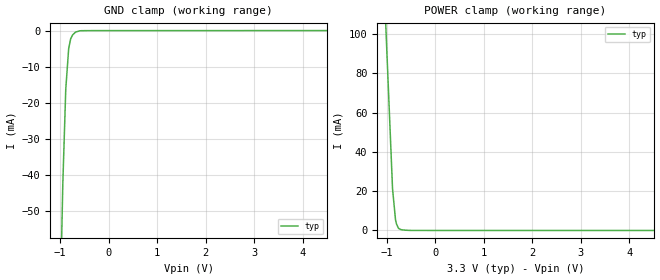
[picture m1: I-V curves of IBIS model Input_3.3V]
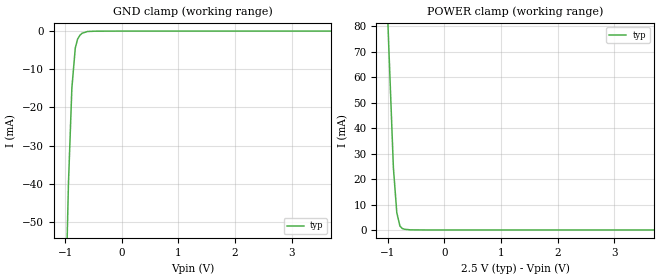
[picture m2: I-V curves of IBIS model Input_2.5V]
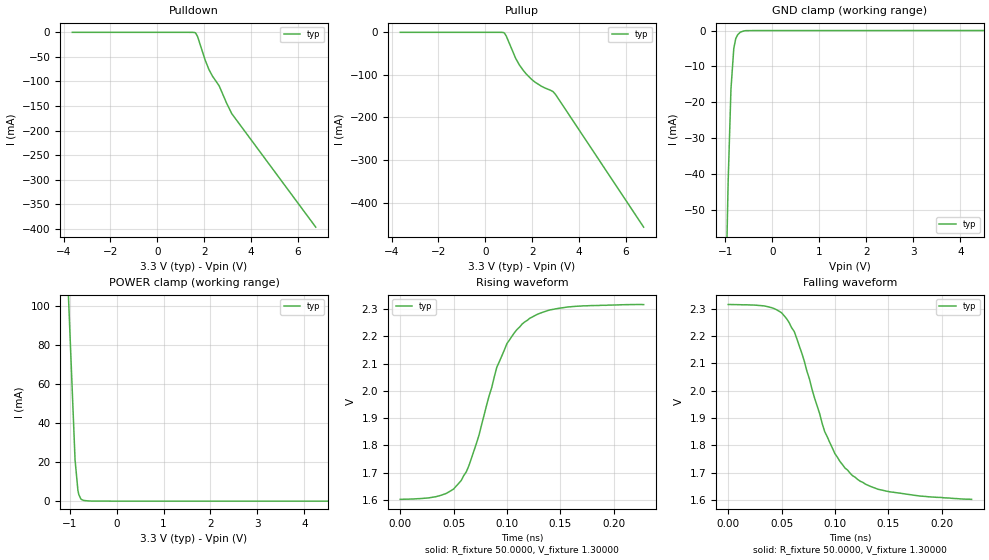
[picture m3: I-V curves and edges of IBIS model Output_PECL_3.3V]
| Teraspeed Modeling Services.
| http://www.teraspeed.com
[IBIS Ver]   3.2
[Comment Char] |_char
[File Name]   nb6l11d.ibs
[File Rev]   3.0
[Source]  Teraspeed Consulting Group LLC.
   Measured and Created by Dekker Graden
[Date]   05-10-2004
[Notes]   Quality Check of this IBIS model: Model Passes IBIS Check
   Model parses into ICX IS. Simulation done with Hyperlynx.
[Disclaimer]
| Use: Teraspeed Consulting Group LLC ("Teraspeed") has
| licensed IBIS models to specific integrated circuit
| suppliers ("IC Vendors") for use and distribustion as
| follows: Each IC Vendor may use IBIS Models, and distribute
| them to IC Vendor's custumers to use solely for developing
| printed circute board designs. Users of this model may
| modify the IBIS model to suit its specific applications but
| rights to derivative works and such modifications shell belong
| to Teraspeed. No other distribusion of these materials is
| permitted.
| DISCLAIMER OF WARRANTY: UNLESS OTHERWISE AGREED TO IN WRITING
| TERASPEED DISCLAIMS AND USER WAIVES ALL WARRANTIES, EXPRESS
| OR IMPLIED, INCLUDING WARRANTIES OF MERCHANTABILITY AND
| FITNESS FOR A PARTICULAR PURPOSE. IN NO EVENT SHALL
| TERASPEED BE LIABLE FOR ANY DIRECT OR INDIRECT DAMAGES,
| WHETHER IN CONTRACT OR TORT, INCLUDING, WITHOUT LIMITATION,
| LOST PROFITS, BUSINESS INTERRUPTION, OR LOST INFORMATION
| ARISING OUT OF THE USE OF OR THE INABILITY TO USE THE MODEL,
| EVEN IF TERASPEED HAS BEEN ADVISED OF THE POSSIBILITY OF SUCH
| DAMAGES.
[Copyright]
| This file is the legal property of Teraspeed Copyright(c) 2004.
| All other rights are reserved.
[Component] NB6L11D
[Manufacturer] ON
[Package]
| variable   typ   min   max
R_pkg  1.5243E-02  1.4866E-02  1.5620E-02
L_pkg  9.9081E-10  9.6629E-10  1.0153E-09
C_pkg  2.3451E-13  2.2871E-13  2.4032E-13
[Pin] signal_name  model_name  R_pin  L_pin C_pin
1  Q0   ECL_Output  1.5620E-02  1.0153E-09  2.4032E-13
2  _Q0  ECL_Output  1.4866E-02  9.6629E-10  2.2871E-13
3  Q1   ECL_Output  1.4866E-02  9.6629E-10  2.2871E-13
4  _Q1  ECL_Output  1.5620E-02  1.0153E-09  2.4032E-13
5  VEE  POWER   1.5620E-02  1.0153E-09  2.4032E-13
6  _D   Input   1.4866E-02  9.6629E-10  2.2871E-13
7  D   Input   1.4866E-02  9.6629E-10  2.2871E-13
8  VCC  POWER   1.5620E-02  1.0153E-09  2.4032E-13
[Diff Pin] inv_pin vdiff tdelay_typ tdelay_min tdelay_max
1  2   NA   NA  NA  NA
3  4   NA   NA  NA  NA
7  6   150mV  NA  NA  NA
[Model Selector] ECL_Output
Output_PECL_3.3V   PECL Output at 3.3V
Output_PECL_2.5V   PECL Output at 2.5V
[Model Selector] Input
Input_3.3V   Input at 3.3V Power
Input_2.5V   Input at 3.5V Power
| Models and submodels in the file (4): Input_3.3V (Input_ECL), Input_2.5V (Input_ECL), Output_PECL_3.3V (Output_ECL), Output_PECL_2.5V (Output_ECL)
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[Model] Input_3.3V
Model_type Input_ECL
Vinl  = 1.225V
Vinh  = 1.375V
C_comp  1.13000pF  NA  NA
| variable   typ   NA  NA
[Voltage Range]   3.30000V  NA  NA
[POWER Clamp Reference]  3.30000V  NA  NA
[GND Clamp Reference]   0.00000V  NA  NA
[Temperature Range]   25   NA  NA
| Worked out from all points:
|   GND clamp passes 1 mA (typ) near -0.72 V on its own axis
|   POWER clamp passes 1 mA (typ) near -0.75 V on its own axis
[GND Clamp]
-3.3V     -1.549A    NA         NA
-941.9mV  -42.52mA   NA         NA
-881mV    -16.25mA   NA         NA
-820.8mV  -4.958mA   NA         NA
-780.3mV  -2.278mA   NA         NA
-739.8mV  -1.189mA   NA         NA
-679.1mV  -415.4uA   NA         NA
-562.1mV  -16uA      NA         NA
-281.1mV  9.116uA    NA         NA
6.6V      16.69uA    NA         NA
[POWER Clamp]
-3.3V     1.464A     NA         NA
-1.039V   114.6mA    NA         NA
-978.5mV  78.31mA    NA         NA
-882.9mV  21.24mA    NA         NA
-821.8mV  5.484mA    NA         NA
-801.9mV  3.313mA    NA         NA
-761.5mV  1.193mA    NA         NA
-741.2mV  779.6uA    NA         NA
-520.9mV  27.07uA    NA         NA
6.6V      0A         NA         NA
[Model] Input_2.5V
Model_type Input_ECL
Vinl  = 0.425V
Vinh  = 0.575V
C_comp  1.13000pF  NA  NA
| variable   typ   NA  NA
[Voltage Range]   2.50000V  NA  NA
[POWER Clamp Reference]  2.50000V  NA  NA
[GND Clamp Reference]   0.00000V  NA  NA
[Temperature Range]   25   NA  NA
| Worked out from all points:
|   GND clamp passes 1 mA (typ) near -0.74 V on its own axis
|   POWER clamp passes 1 mA (typ) near -0.76 V on its own axis
[GND Clamp]
-2.5V     -1.026A    NA         NA
-941.9mV  -40.14mA   NA         NA
-881.1mV  -14.86mA   NA         NA
-820.8mV  -4.383mA   NA         NA
-780.3mV  -2.054mA   NA         NA
-739.8mV  -1.055mA   NA         NA
-699.4mV  -503.7uA   NA         NA
-603.1mV  -51.72uA   NA         NA
-462.7mV  30.99uA    NA         NA
5V        54.28uA    NA         NA
[POWER Clamp]
-2.5V     961.5mA    NA         NA
-1.02V    95.53mA    NA         NA
-959.5mV  60.07mA    NA         NA
-898.7mV  24.5mA     NA         NA
-838.3mV  6.76mA     NA         NA
-783.1mV  1.554mA    NA         NA
-742.6mV  582.1uA    NA         NA
-600.9mV  44.55uA    NA         NA
-300.4mV  0A         NA         NA
5V        0A         NA         NA
[Model] Output_PECL_3.3V
Model_type Output_ECL
Vref  = 1.30000V
Rref  = 50.0000ohms
Cref  = 0.00000pF
Vmeas = 1.9592V
C_comp  1.13000pF  NA  NA
| variable   typ   NA  NA
[Voltage Range]   3.30000V  NA  NA
[POWER Clamp Reference]  3.30000V  NA  NA
[Pullup Reference]   3.30000V  NA  NA
[Pulldown Reference]   3.30000V  NA  NA
[GND Clamp Reference]   0.00000V  NA  NA
[Temperature Range]   25   NA  NA
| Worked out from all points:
|   GND clamp passes 1 mA (typ) near -0.72 V on its own axis
|   POWER clamp passes 1 mA (typ) near -0.75 V on its own axis
|   falling waveform, R_fixture 50.0000, V_fixture 1.30000: 20-80 % time 38.3ps typ, NA min, NA max; typ from 2.32 V to 1.6 V
|   rising waveform, R_fixture 50.0000, V_fixture 1.30000: 20-80 % time 34ps typ, NA min, NA max; typ from 1.6 V to 2.32 V
[GND Clamp]
-3.3V     -1.549A    NA         NA
-941.9mV  -42.52mA   NA         NA
-881mV    -16.25mA   NA         NA
-820.8mV  -4.958mA   NA         NA
-780.3mV  -2.278mA   NA         NA
-739.8mV  -1.189mA   NA         NA
-679.1mV  -415.4uA   NA         NA
-562.1mV  -16uA      NA         NA
-281.1mV  9.116uA    NA         NA
6.6V      16.69uA    NA         NA
[Pulldown]
-3.63V    -1.126uA   NA         NA
1.499V    -56.69uA   NA         NA
1.641V    -1.654mA   NA         NA
1.722V    -8.984mA   NA         NA
2.04V     -56.14mA   NA         NA
2.201V    -75.56mA   NA         NA
2.358V    -89.42mA   NA         NA
2.641V    -109mA     NA         NA
2.96V     -144.4mA   NA         NA
3.178V    -165.5mA   NA         NA
6.765V    -396.6mA   NA         NA
[Pullup]
-3.63V    -7.837uA   NA         NA
598.9mV   -19.33uA   NA         NA
822mV     -2.016mA   NA         NA
897.3mV   -8.729mA   NA         NA
1.301V    -61.4mA    NA         NA
1.459V    -76.76mA   NA         NA
1.641V    -90.73mA   NA         NA
2.141V    -117.6mA   NA         NA
2.399V    -126.7mA   NA         NA
2.9V      -139.5mA   NA         NA
3V        -145.8mA   NA         NA
6.765V    -457.8mA   NA         NA
[POWER Clamp]
-3.3V     1.464A     NA         NA
-1.039V   114.6mA    NA         NA
-978.5mV  78.31mA    NA         NA
-882.9mV  21.24mA    NA         NA
-821.8mV  5.484mA    NA         NA
-801.9mV  3.313mA    NA         NA
-761.5mV  1.193mA    NA         NA
-741.2mV  779.6uA    NA         NA
-520.9mV  27.07uA    NA         NA
6.6V      0A         NA         NA
[Falling Waveform]
R_fixture = 50.0000
V_fixture = 1.30000
0s        2.316V     NA         NA
35.71ps   2.309V     NA         NA
54.76ps   2.264V     NA         NA
61.91ps   2.217V     NA         NA
69.05ps   2.137V     NA         NA
90.48ps   1.851V     NA         NA
100ps     1.77V      NA         NA
116.7ps   1.689V     NA         NA
147.6ps   1.633V     NA         NA
228.1ps   1.603V     NA         NA
[Rising Waveform]
R_fixture = 50.0000
V_fixture = 1.30000
0s        1.603V     NA         NA
38.09ps   1.617V     NA         NA
57.14ps   1.672V     NA         NA
64.29ps   1.726V     NA         NA
71.43ps   1.808V     NA         NA
90.48ps   2.086V     NA         NA
100ps     2.173V     NA         NA
116.7ps   2.252V     NA         NA
150ps     2.303V     NA         NA
228.1ps   2.316V     NA         NA
[Ramp]
| variable typ min max
dV/dt_r 422.969m/90.8067p  NA  NA
dV/dt_f 422.969m/85.0608p  NA  NA
R_load = 50.0000Ohms
